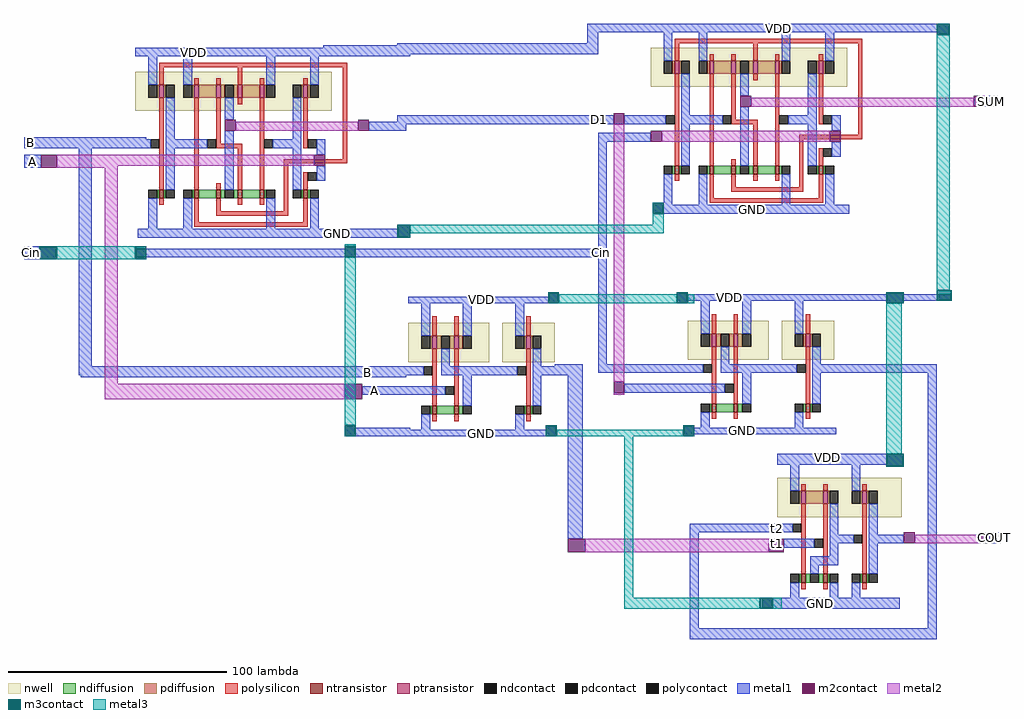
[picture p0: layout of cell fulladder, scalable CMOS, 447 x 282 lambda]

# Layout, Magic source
magic
tech scmos
<< nwell >>
rect 180 59 270 77
rect 416 70 506 88
rect 305 -56 342 -38
rect 348 -56 372 -38
rect 433 -55 470 -37
rect 476 -55 500 -37
rect 474 -127 531 -109
<< ntransistor >>
rect 191 19 193 23
rect 207 19 209 23
rect 217 19 219 23
rect 227 19 229 23
rect 237 19 239 23
rect 427 30 429 34
rect 443 30 445 34
rect 453 30 455 34
rect 463 30 465 34
rect 473 30 475 34
rect 257 19 259 23
rect 493 30 495 34
rect 316 -80 318 -76
rect 326 -80 328 -76
rect 359 -80 361 -76
rect 444 -79 446 -75
rect 454 -79 456 -75
rect 487 -79 489 -75
rect 485 -157 487 -153
rect 495 -157 497 -153
rect 513 -157 515 -153
<< ptransistor >>
rect 191 65 193 71
rect 207 65 209 71
rect 217 65 219 71
rect 227 65 229 71
rect 237 65 239 71
rect 257 65 259 71
rect 427 76 429 82
rect 443 76 445 82
rect 453 76 455 82
rect 463 76 465 82
rect 473 76 475 82
rect 493 76 495 82
rect 316 -50 318 -44
rect 326 -50 328 -44
rect 359 -50 361 -44
rect 444 -49 446 -43
rect 454 -49 456 -43
rect 487 -49 489 -43
rect 485 -121 487 -115
rect 495 -121 497 -115
rect 513 -121 515 -115
<< ndiffusion >>
rect 190 19 191 23
rect 193 19 194 23
rect 206 19 207 23
rect 209 19 217 23
rect 219 19 221 23
rect 225 19 227 23
rect 229 19 237 23
rect 239 19 240 23
rect 426 30 427 34
rect 429 30 430 34
rect 442 30 443 34
rect 445 30 453 34
rect 455 30 457 34
rect 461 30 463 34
rect 465 30 473 34
rect 475 30 476 34
rect 256 19 257 23
rect 259 19 260 23
rect 492 30 493 34
rect 495 30 496 34
rect 315 -80 316 -76
rect 318 -80 326 -76
rect 328 -80 330 -76
rect 358 -80 359 -76
rect 361 -80 362 -76
rect 443 -79 444 -75
rect 446 -79 454 -75
rect 456 -79 458 -75
rect 486 -79 487 -75
rect 489 -79 490 -75
rect 484 -157 485 -153
rect 487 -157 489 -153
rect 493 -157 495 -153
rect 497 -157 498 -153
rect 512 -157 513 -153
rect 515 -157 516 -153
<< pdiffusion >>
rect 190 65 191 71
rect 193 65 194 71
rect 206 65 207 71
rect 209 65 217 71
rect 219 65 221 71
rect 225 65 227 71
rect 229 65 237 71
rect 239 65 240 71
rect 256 65 257 71
rect 259 65 260 71
rect 426 76 427 82
rect 429 76 430 82
rect 442 76 443 82
rect 445 76 453 82
rect 455 76 457 82
rect 461 76 463 82
rect 465 76 473 82
rect 475 76 476 82
rect 492 76 493 82
rect 495 76 496 82
rect 315 -50 316 -44
rect 318 -50 320 -44
rect 324 -50 326 -44
rect 328 -50 330 -44
rect 358 -50 359 -44
rect 361 -50 362 -44
rect 443 -49 444 -43
rect 446 -49 448 -43
rect 452 -49 454 -43
rect 456 -49 458 -43
rect 486 -49 487 -43
rect 489 -49 490 -43
rect 484 -121 485 -115
rect 487 -121 495 -115
rect 497 -121 498 -115
rect 512 -121 513 -115
rect 515 -121 516 -115
<< ndcontact >>
rect 186 19 190 23
rect 194 19 198 23
rect 202 19 206 23
rect 221 19 225 23
rect 240 19 244 23
rect 422 30 426 34
rect 430 30 434 34
rect 438 30 442 34
rect 457 30 461 34
rect 476 30 480 34
rect 252 19 256 23
rect 260 19 264 23
rect 488 30 492 34
rect 496 30 500 34
rect 311 -80 315 -76
rect 330 -80 334 -76
rect 354 -80 358 -76
rect 362 -80 366 -76
rect 439 -79 443 -75
rect 458 -79 462 -75
rect 482 -79 486 -75
rect 490 -79 494 -75
rect 480 -157 484 -153
rect 489 -157 493 -153
rect 498 -157 502 -153
rect 508 -157 512 -153
rect 516 -157 520 -153
<< pdcontact >>
rect 186 65 190 71
rect 194 65 198 71
rect 202 65 206 71
rect 221 65 225 71
rect 240 65 244 71
rect 252 65 256 71
rect 260 65 264 71
rect 422 76 426 82
rect 430 76 434 82
rect 438 76 442 82
rect 457 76 461 82
rect 476 76 480 82
rect 488 76 492 82
rect 496 76 500 82
rect 311 -50 315 -44
rect 320 -50 324 -44
rect 330 -50 334 -44
rect 354 -50 358 -44
rect 362 -50 366 -44
rect 439 -49 443 -43
rect 448 -49 452 -43
rect 458 -49 462 -43
rect 482 -49 486 -43
rect 490 -49 494 -43
rect 480 -121 484 -115
rect 498 -121 502 -115
rect 508 -121 512 -115
rect 516 -121 520 -115
<< polysilicon >>
rect 427 90 513 92
rect 427 82 429 90
rect 443 82 445 85
rect 453 82 455 85
rect 463 82 465 90
rect 473 82 475 85
rect 493 82 495 85
rect 191 79 277 81
rect 191 71 193 79
rect 207 71 209 74
rect 217 71 219 74
rect 227 71 229 79
rect 237 71 239 74
rect 257 71 259 74
rect 191 23 193 65
rect 207 23 209 65
rect 217 44 219 65
rect 227 62 229 65
rect 217 42 229 44
rect 217 23 219 26
rect 227 23 229 42
rect 237 23 239 65
rect 257 42 259 65
rect 275 37 277 79
rect 248 35 277 37
rect 191 16 193 19
rect 207 8 209 19
rect 217 13 219 19
rect 227 16 229 19
rect 237 16 239 19
rect 248 13 250 35
rect 427 34 429 76
rect 443 34 445 76
rect 453 55 455 76
rect 463 73 465 76
rect 453 53 465 55
rect 453 34 455 37
rect 463 34 465 53
rect 473 34 475 76
rect 493 53 495 76
rect 511 48 513 90
rect 484 46 513 48
rect 257 23 259 31
rect 427 27 429 30
rect 443 19 445 30
rect 453 24 455 30
rect 463 27 465 30
rect 473 27 475 30
rect 484 24 486 46
rect 493 34 495 42
rect 453 22 486 24
rect 493 19 495 30
rect 217 11 250 13
rect 257 8 259 19
rect 443 17 495 19
rect 207 6 259 8
rect 316 -44 318 -35
rect 326 -44 328 -35
rect 359 -44 361 -35
rect 444 -43 446 -34
rect 454 -43 456 -34
rect 487 -43 489 -34
rect 316 -76 318 -50
rect 326 -76 328 -50
rect 359 -76 361 -50
rect 444 -75 446 -49
rect 454 -75 456 -49
rect 487 -75 489 -49
rect 316 -83 318 -80
rect 326 -83 328 -80
rect 359 -83 361 -80
rect 444 -82 446 -79
rect 454 -82 456 -79
rect 487 -82 489 -79
rect 485 -115 487 -112
rect 495 -115 497 -112
rect 513 -115 515 -112
rect 485 -153 487 -121
rect 495 -153 497 -121
rect 513 -153 515 -121
rect 485 -160 487 -157
rect 495 -160 497 -157
rect 513 -160 515 -157
<< polycontact >>
rect 187 42 191 46
rect 213 42 217 46
rect 239 42 243 46
rect 259 42 263 46
rect 423 53 427 57
rect 449 53 453 57
rect 475 53 479 57
rect 495 53 499 57
rect 259 27 263 31
rect 495 38 499 42
rect 312 -62 316 -58
rect 322 -71 326 -67
rect 355 -62 359 -58
rect 440 -61 444 -57
rect 450 -70 454 -66
rect 483 -61 487 -57
rect 481 -134 485 -130
rect 491 -141 495 -137
rect 509 -139 513 -135
<< metal1 >>
rect 387 95 553 99
rect 387 90 392 95
rect 300 89 392 90
rect 266 88 392 89
rect 180 85 392 88
rect 180 84 306 85
rect 186 71 190 84
rect 202 71 206 84
rect 240 71 244 84
rect 260 71 264 84
rect 422 82 426 95
rect 438 82 442 95
rect 476 82 480 95
rect 496 82 500 95
rect 547 94 553 95
rect 129 46 185 47
rect 194 46 198 65
rect 221 55 225 65
rect 129 42 187 46
rect 194 42 213 46
rect 129 33 137 39
rect 129 -9 144 -3
rect 154 -58 160 42
rect 194 23 198 42
rect 221 23 225 50
rect 252 46 256 65
rect 300 54 399 57
rect 287 53 399 54
rect 430 57 434 76
rect 457 66 461 76
rect 404 53 423 57
rect 430 53 449 57
rect 287 50 304 53
rect 243 42 256 46
rect 252 23 256 42
rect 263 39 267 46
rect 263 27 267 34
rect 392 45 416 49
rect 186 5 190 19
rect 202 5 206 19
rect 240 5 244 19
rect 260 5 264 19
rect 300 5 306 7
rect 181 1 306 5
rect 276 -4 281 -3
rect 392 -4 396 45
rect 430 34 434 53
rect 457 34 461 61
rect 488 57 492 76
rect 569 61 575 66
rect 479 53 492 57
rect 488 34 492 53
rect 499 50 503 57
rect 499 38 503 45
rect 422 17 426 30
rect 417 16 426 17
rect 438 16 442 30
rect 476 16 480 30
rect 496 16 500 30
rect 417 12 507 16
rect 180 -8 396 -4
rect 369 -26 374 -24
rect 305 -29 374 -26
rect 311 -44 315 -29
rect 330 -44 334 -29
rect 354 -44 358 -29
rect 320 -58 324 -50
rect 362 -58 366 -50
rect 392 -57 396 -8
rect 428 -25 433 -24
rect 524 -25 532 -24
rect 428 -28 554 -25
rect 428 -29 433 -28
rect 439 -43 443 -28
rect 458 -43 462 -28
rect 482 -43 486 -28
rect 524 -29 532 -28
rect 448 -57 452 -49
rect 490 -57 494 -49
rect 372 -58 385 -57
rect 154 -62 312 -58
rect 320 -62 355 -58
rect 362 -62 385 -58
rect 392 -61 440 -57
rect 448 -61 483 -57
rect 490 -61 547 -57
rect 155 -63 304 -62
rect 284 -71 322 -67
rect 330 -76 334 -62
rect 362 -76 366 -62
rect 276 -86 281 -85
rect 276 -87 306 -86
rect 311 -87 315 -80
rect 354 -87 358 -80
rect 368 -87 373 -85
rect 276 -90 373 -87
rect 378 -137 385 -62
rect 404 -70 450 -66
rect 458 -75 462 -61
rect 490 -75 494 -61
rect 431 -86 436 -85
rect 439 -86 443 -79
rect 482 -86 486 -79
rect 431 -89 501 -86
rect 431 -90 436 -89
rect 474 -103 532 -98
rect 480 -115 484 -103
rect 508 -115 512 -103
rect 524 -104 532 -103
rect 434 -134 481 -130
rect 434 -178 438 -134
rect 498 -135 502 -121
rect 516 -135 520 -121
rect 477 -141 491 -137
rect 498 -139 509 -135
rect 516 -139 532 -135
rect 498 -145 502 -139
rect 489 -149 502 -145
rect 489 -153 493 -149
rect 516 -153 520 -139
rect 480 -164 484 -157
rect 498 -164 502 -157
rect 508 -164 512 -157
rect 467 -169 530 -164
rect 543 -178 547 -61
rect 571 -139 576 -134
rect 434 -183 547 -178
<< m2contact >>
rect 221 50 226 55
rect 137 33 144 39
rect 282 50 287 55
rect 399 53 404 58
rect 457 61 462 66
rect 262 34 267 39
rect 416 45 421 50
rect 564 61 569 66
rect 498 45 503 50
rect 276 -73 284 -66
rect 399 -70 404 -65
rect 378 -143 386 -137
rect 470 -143 477 -137
rect 532 -139 537 -134
rect 566 -139 571 -134
<< metal2 >>
rect 462 61 564 65
rect 226 50 282 54
rect 144 34 262 39
rect 144 33 172 34
rect 166 -66 172 33
rect 399 -65 404 53
rect 421 45 498 50
rect 166 -73 276 -66
rect 399 -71 404 -70
rect 386 -143 470 -137
rect 537 -139 566 -135
<< m3contact >>
rect 547 94 553 99
rect 136 -9 144 -3
rect 300 1 306 7
rect 180 -9 185 -3
rect 276 -8 281 -3
rect 369 -29 374 -24
rect 417 12 422 17
rect 428 -29 433 -24
rect 524 -29 532 -24
rect 547 -28 554 -23
rect 276 -90 281 -85
rect 368 -90 373 -85
rect 431 -90 436 -85
rect 524 -104 532 -98
rect 466 -169 472 -164
<< metal3 >>
rect 417 7 422 12
rect 306 3 422 7
rect 276 -3 281 -2
rect 144 -9 180 -3
rect 276 -85 281 -8
rect 547 -23 553 94
rect 374 -29 428 -25
rect 433 -29 436 -25
rect 373 -90 431 -87
rect 404 -164 408 -90
rect 524 -98 531 -29
rect 404 -169 466 -164
rect 472 -169 476 -164
<< labels >>
rlabel metal1 305 -29 372 -26 1 VDD
rlabel metal1 304 -90 373 -87 1 GND
rlabel metal1 470 -134 478 -130 1 t2
rlabel metal1 470 -141 478 -137 1 t1
rlabel metal1 569 61 575 66 7 SUM
rlabel metal1 571 -139 576 -134 7 COUT
rlabel metal1 129 42 135 47 3 B
rlabel metal1 129 33 137 39 3 A
rlabel metal1 129 -9 136 -3 3 Cin
rlabel metal1 204 84 209 88 1 VDD
rlabel metal1 270 1 275 5 1 GND
rlabel metal1 287 -71 292 -67 1 A
rlabel metal1 284 -63 289 -59 1 B
rlabel metal1 472 95 477 99 5 VDD
rlabel metal1 460 12 465 16 1 GND
rlabel metal1 391 -8 396 -4 1 Cin
rlabel metal1 390 53 395 57 1 D1
rlabel metal1 449 -28 455 -25 1 VDD
rlabel metal1 455 -89 461 -86 1 GND
rlabel metal1 494 -101 500 -98 1 VDD
rlabel metal1 491 -168 497 -165 1 GND
<< end >>
